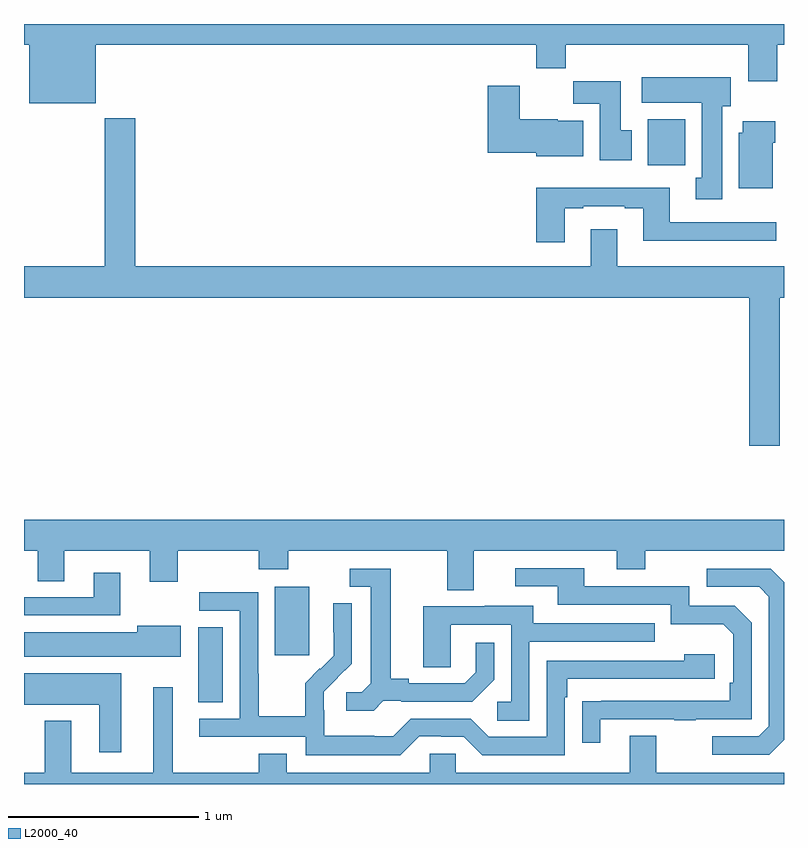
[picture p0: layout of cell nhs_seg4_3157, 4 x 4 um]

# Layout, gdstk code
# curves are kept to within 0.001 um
import gdstk
lib = gdstk.Library(unit=1e-6, precision=1e-09)
def R(c, l, rs):  # rectangles x0, y0, x1, y1
    for r in rs: c.add(gdstk.rectangle(r[:2], r[2:], *l))
def P(c, l, *ps):  # polygons
    for p in ps: c.add(gdstk.Polygon(p, *l))
L2000_40 = (2000, 40)

nhs_seg4_3157 = lib.new_cell('nhs_seg4_3157')
R(nhs_seg4_3157, L2000_40, [(277.916,821.329,278.047,821.726), (278.321,821.577,278.5,821.938), (280.283,824.156,280.48,824.398)])
P(nhs_seg4_3157, L2000_40, [(277.378,824.792),(279.695,824.792),(279.695,824.668),(279.851,824.668),(279.851,824.792),(280.811,824.792),(280.811,824.598),(280.964,824.598),(280.964,824.792),(281,824.792),(281,824.9),(277,824.9),(277,824.792),(277.028,824.792),(277.028,824.483),(277.378,824.483)],
  [(280.675,824.466),(280.72,824.466),(280.72,824.62),(280.251,824.62),(280.251,824.486),(280.568,824.486),(280.568,824.09),(280.535,824.09),(280.535,823.977),(280.675,823.977)],
  [(280.198,824.34),(280.141,824.34),(280.141,824.599),(279.892,824.599),(279.892,824.48),(280.031,824.48),(280.031,824.184),(280.198,824.184)],
  [(279.943,824.392),(279.81,824.392),(279.81,824.398),(279.61,824.398),(279.61,824.575),(279.44,824.575),(279.44,824.222),(279.696,824.222),(279.696,824.204),(279.943,824.204)],
  [(280.977,823.46),(281,823.46),(281,823.624),(280.123,823.624),(280.123,823.819),(279.983,823.819),(279.983,823.624),(277.586,823.624),(277.586,824.404),(277.426,824.404),(277.426,823.624),(277,823.624),(277,823.46),(280.817,823.46),(280.817,822.681),(280.977,822.681)],
  [(280.942,824.276),(280.955,824.276),(280.955,824.389),(280.784,824.389),(280.784,824.328),(280.763,824.328),(280.763,824.036),(280.942,824.036)],
  [(279.847,823.929),(279.943,823.929),(279.943,823.941),(280.163,823.941),(280.163,823.929),(280.259,823.929),(280.259,823.76),(280.96,823.76),(280.96,823.857),(280.399,823.857),(280.399,824.038),(279.695,824.038),(279.695,823.752),(279.847,823.752)],
  [(279.367,822.128),(280.121,822.128),(280.121,822.029),(280.269,822.029),(280.269,822.128),(281,822.128),(281,822.292),(277,822.292),(277,822.128),(277.073,822.128),(277.073,821.968),(277.213,821.968),(277.213,822.128),(277.661,822.128),(277.661,821.964),(277.809,821.964),(277.809,822.128),(278.236,822.128),(278.236,822.029),(278.391,822.029),(278.391,822.128),(279.227,822.128),(279.227,821.92),(279.367,821.92)],
  [(280.033,821.241),(280.423,821.241),(280.423,821.236),(280.535,821.236),(280.535,821.241),(280.83,821.241),(280.83,821.748),(280.74,821.838),(280.5,821.838),(280.5,821.94),(279.949,821.94),(279.949,822.036),(279.585,822.036),(279.585,821.94),(279.809,821.94),(279.809,821.844),(280.404,821.844),(280.404,821.741),(280.681,821.741),(280.734,821.688),(280.734,821.434),(280.714,821.434),(280.714,821.337),(279.937,821.336),(279.937,821.118),(280.033,821.118)],
  [(278.892,821.337),(278.986,821.337),(278.986,821.334),(279.358,821.334),(279.474,821.45),(279.474,821.644),(279.377,821.644),(279.377,821.487),(279.32,821.43),(279.025,821.43),(279.025,821.453),(278.929,821.453),(278.929,822.033),(278.715,822.033),(278.715,821.937),(278.825,821.937),(278.825,821.429),(278.778,821.382),(278.697,821.382),(278.697,821.285),(278.84,821.285)],
  [(281,821.132),(281,821.962),(280.929,822.033),(280.593,822.033),(280.593,821.937),(280.869,821.937),(280.92,821.886),(280.92,821.205),(280.866,821.151),(280.623,821.151),(280.623,821.055),(280.923,821.055)],
  [(277.507,822.013),(277.367,822.013),(277.367,821.883),(277,821.883),(277,821.787),(277.507,821.787)],
  [(279.081,821.151),(279.197,821.151),(279.197,821.148),(279.315,821.148),(279.411,821.052),(279.846,821.052),(279.846,821.357),(279.859,821.357),(279.859,821.454),(280.636,821.454),(280.636,821.584),(280.475,821.584),(280.475,821.55),(279.75,821.55),(279.75,821.148),(279.447,821.148),(279.351,821.244),(279.036,821.244),(278.943,821.151),(278.843,821.151),(278.843,821.155),(278.58,821.155),(278.58,821.289),(278.578,821.289),(278.578,821.386),(278.724,821.534),(278.724,821.852),(278.628,821.852),(278.628,821.698),(278.63,821.698),(278.63,821.576),(278.559,821.505),(278.556,821.508),(278.479,821.431),(278.479,821.257),(278.235,821.257),(278.235,821.48),(278.232,821.48),(278.232,821.91),(277.923,821.91),(277.923,821.811),(278.136,821.811),(278.136,821.244),(277.923,821.244),(277.923,821.148),(278.484,821.148),(278.484,821.051),(278.981,821.051)],
  [(279.66,821.649),(280.319,821.649),(280.319,821.745),(279.679,821.745),(279.679,821.839),(279.425,821.839),(279.425,821.835),(279.101,821.835),(279.101,821.515),(279.246,821.515),(279.246,821.739),(279.564,821.739),(279.564,821.334),(279.492,821.334),(279.492,821.233),(279.66,821.233)],
  [(277.825,821.734),(277.595,821.734),(277.595,821.698),(277,821.698),(277,821.57),(277.825,821.57)],
  [(277.513,821.482),(277,821.482),(277,821.318),(277.397,821.318),(277.397,821.067),(277.513,821.067)],
  [(281,820.96),(280.327,820.96),(280.327,821.155),(280.187,821.155),(280.187,820.96),(279.273,820.96),(279.273,821.058),(279.135,821.058),(279.135,820.96),(278.383,820.96),(278.383,821.059),(278.236,821.059),(278.236,820.96),(277.783,820.96),(277.783,821.41),(277.679,821.41),(277.679,820.96),(277.249,820.96),(277.249,821.233),(277.109,821.233),(277.109,820.96),(277,820.96),(277,820.9),(281,820.9)])

lib.write_gds('nhs_seg4_3157.gds')
